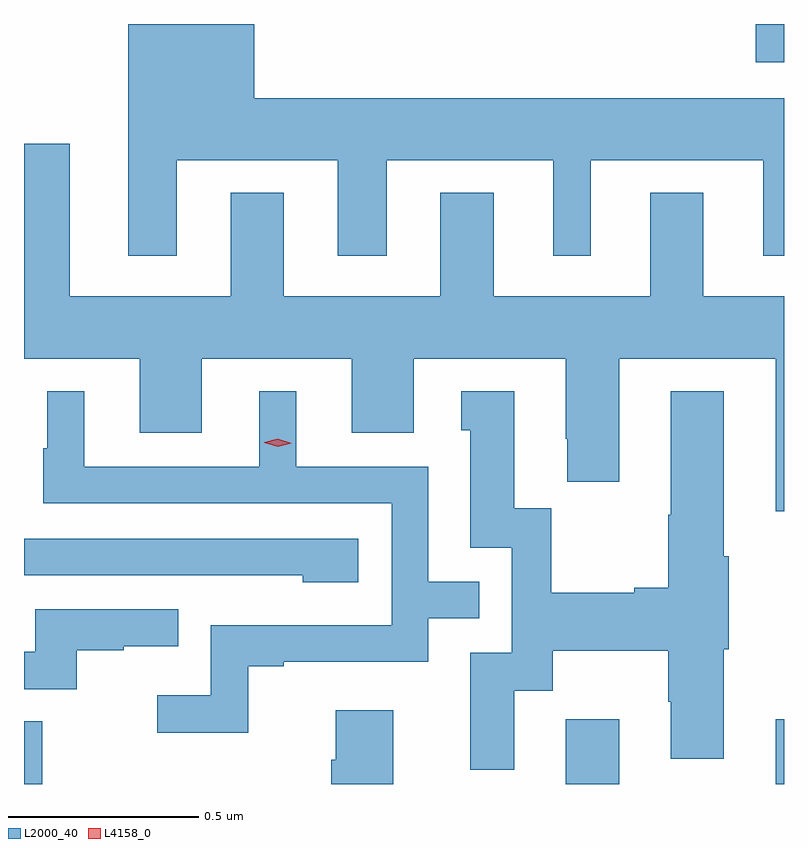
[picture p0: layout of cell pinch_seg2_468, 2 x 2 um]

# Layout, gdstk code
import gdstk
lib = gdstk.Library(unit=1e-6, precision=1e-09)
def R(c, l, rs):  # rectangles x0, y0, x1, y1
    for r in rs: c.add(gdstk.rectangle(r[:2], r[2:], *l))
def P(c, l, *ps):  # polygons
    for p in ps: c.add(gdstk.Polygon(p, *l))
L2000_40 = (2000, 40)
L4158_0 = (4158, 0)

pinch_seg2_468 = lib.new_cell('pinch_seg2_468')
R(pinch_seg2_468, L2000_40, [(890.623,601.229,890.671,601.394), (892.049,601.229,892.189,601.399), (892.601,601.229,892.623,601.399), (892.548,603.128,892.623,603.229)])
P(pinch_seg2_468, L2000_40, [(891.025,602.87),(891.449,602.87),(891.449,602.619),(891.577,602.619),(891.577,602.87),(892.016,602.87),(892.016,602.619),(892.114,602.619),(892.114,602.87),(892.568,602.87),(892.568,602.619),(892.623,602.619),(892.623,603.034),(891.229,603.034),(891.229,603.229),(890.897,603.229),(890.897,602.619),(891.025,602.619)],
  [(892.623,602.512),(892.411,602.512),(892.411,602.785),(892.271,602.785),(892.271,602.512),(891.859,602.512),(891.859,602.785),(891.719,602.785),(891.719,602.512),(891.307,602.512),(891.307,602.785),(891.167,602.785),(891.167,602.512),(890.743,602.512),(890.743,602.914),(890.623,602.914),(890.623,602.348),(890.927,602.348),(890.927,602.154),(891.091,602.154),(891.091,602.348),(891.485,602.348),(891.485,602.154),(891.649,602.154),(891.649,602.348),(892.049,602.348),(892.049,602.137),(892.052,602.137),(892.052,602.025),(892.189,602.025),(892.189,602.348),(892.601,602.348),(892.601,601.947),(892.623,601.947)],
  [(891.213,601.539),(891.307,601.539),(891.307,601.551),(891.687,601.551),(891.687,601.665),(891.821,601.665),(891.821,601.761),(891.687,601.761),(891.687,602.064),(891.34,602.064),(891.34,602.263),(891.242,602.263),(891.242,602.064),(890.782,602.064),(890.782,602.263),(890.684,602.263),(890.684,602.112),(890.673,602.112),(890.673,601.968),(891.591,601.968),(891.591,601.647),(891.114,601.647),(891.114,601.462),(890.973,601.462),(890.973,601.364),(891.213,601.364)],
  [(891.913,601.474),(892.015,601.474),(892.015,601.58),(892.318,601.58),(892.318,601.446),(892.325,601.446),(892.325,601.296),(892.465,601.296),(892.465,601.584),(892.478,601.584),(892.478,601.828),(892.465,601.828),(892.465,602.263),(892.325,602.263),(892.325,601.937),(892.318,601.937),(892.318,601.745),(892.229,601.745),(892.229,601.732),(892.011,601.732),(892.011,601.955),(891.913,601.955),(891.913,602.263),(891.773,602.263),(891.773,602.16),(891.797,602.16),(891.797,601.851),(891.906,601.851),(891.906,601.575),(891.797,601.575),(891.797,601.266),(891.913,601.266)],
  [(891.502,601.875),(890.623,601.875),(890.623,601.779),(891.121,601.779),(891.121,601.778),(891.357,601.778),(891.357,601.76),(891.502,601.76)],
  [(890.762,601.581),(890.885,601.581),(890.885,601.592),(891.029,601.592),(891.029,601.689),(890.652,601.689),(890.652,601.577),(890.623,601.577),(890.623,601.479),(890.762,601.479)],
  [(891.595,601.423),(891.443,601.423),(891.443,601.293),(891.431,601.293),(891.431,601.229),(891.595,601.229)])
P(pinch_seg2_468, L4158_0, [(891.291,602.117),(891.255,602.127),(891.255,602.127),(891.255,602.128),(891.291,602.137),(891.327,602.126),(891.327,602.126),(891.327,602.126)])

lib.write_gds('pinch_seg2_468.gds')
